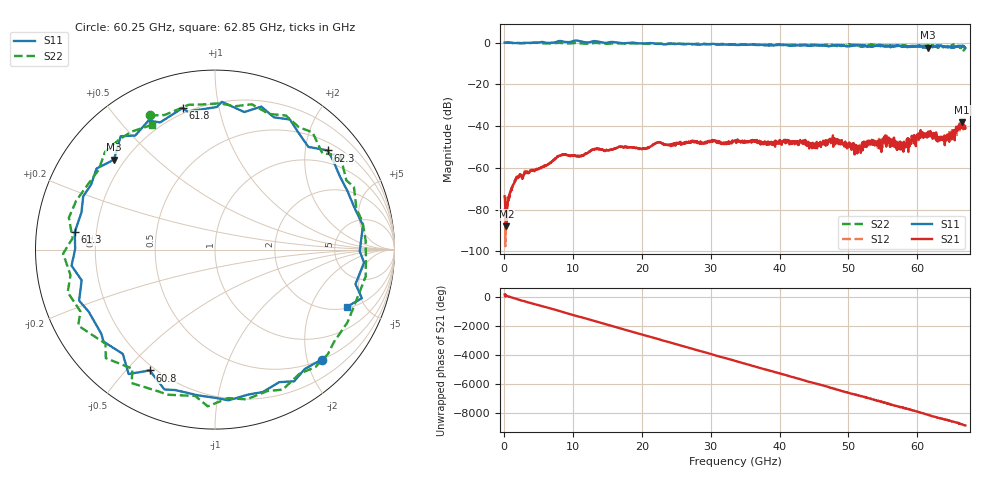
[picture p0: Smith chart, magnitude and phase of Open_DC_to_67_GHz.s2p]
#  HZ  S  MA  R  50.00
! Rohde & Schwarz ZVA67 4Ports - Version 4.11 - 1305.7002k04 SN: 101051
! Date: 2023-05-31 11:08:26
! Measurements: S11 S21 S12 S22
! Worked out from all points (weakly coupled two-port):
!   1340 points, 50 MHz to 67 GHz, reference 50 ohm
!   highest |S21| = -37.93 dB at 66.55 GHz (marker M1); lowest = -88.0 dB at 300 MHz (marker M2)
!   lowest |S11| = -2.5 dB at 61.55 GHz (marker M3), VSWR 7.12, Z = 8.01 + j18.6 ohm
!   |S11| at or under -10 dB: nowhere
!   |S22| runs from -3.8 to 0.1 dB; largest |S21 - S12| = 0.0041
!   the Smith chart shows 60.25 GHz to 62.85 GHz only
!   S11 on the Smith chart (normalised r, x): 60.25 GHz: 0.50, -2.27; 60.8 GHz: 0.18, -0.58; 61.3 GHz: 0.12, +0.06; 61.8 GHz: 0.17, +0.78; 62.3 GHz: 0.68, +2.49; 62.85 GHz: 2.08, -3.70
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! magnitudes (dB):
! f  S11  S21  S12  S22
! 50 MHz  0.0  -73.5  -79.1  0.0
! 300 MHz  0.1  -88.0  -76.8  0.1
! 2.05 GHz  -0.2  -63.9  -63.8  -0.2
! 8.2 GHz  0.8  -54.0  -53.9  -0.1
! 11.25 GHz  0.5  -54.0  -54.0  -0.4
! 22.4 GHz  -0.6  -47.7  -47.7  -0.4
! 33.55 GHz  -1.1  -46.8  -46.5  -0.7
! 44.7 GHz  -1.4  -50.5  -49.0  -1.0
! 48.15 GHz  -1.2  -46.0  -48.2  -1.4
! 51.6 GHz  -1.2  -50.4  -49.6  -1.6
! 55.85 GHz  -1.8  -46.7  -49.1  -1.6
! 57.35 GHz  -1.5  -49.7  -49.5  -1.5
! 60.25 GHz  -1.4  -45.2  -44.3  -1.6
! 60.8 GHz  -2.3  -43.8  -44.4  -1.9
! 61.3 GHz  -2.1  -44.2  -43.9  -1.5
! 61.55 GHz  -2.5  -44.4  -43.8  -1.5
! 61.8 GHz  -1.8  -43.7  -43.3  -1.2
! 62.3 GHz  -1.6  -44.5  -43.6  -1.4
! 62.85 GHz  -1.9  -44.3  -46.2  -2.2
! 64.3 GHz  -2.1  -46.6  -45.5  -2.1
! 66.55 GHz  -1.4  -37.9  -39.1  -2.6
! 67 GHz  -2.5  -40.9  -40.1  -2.6
